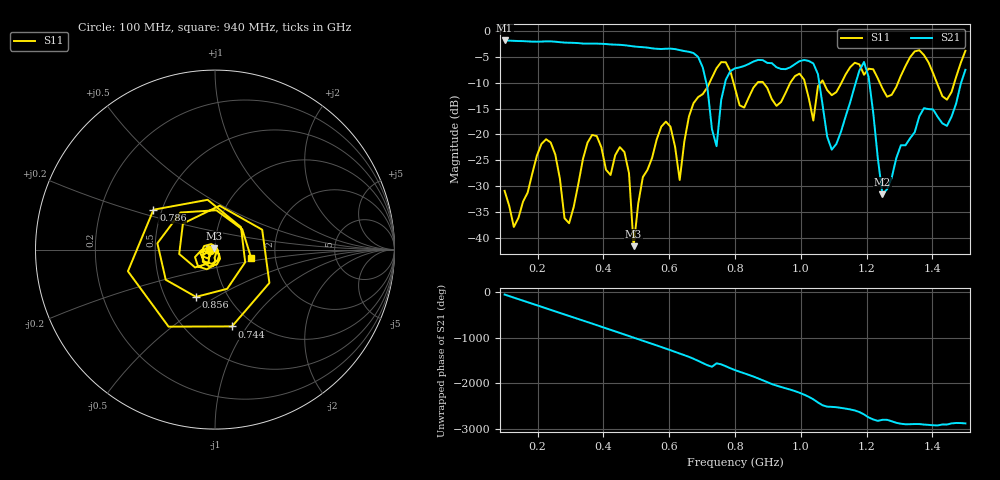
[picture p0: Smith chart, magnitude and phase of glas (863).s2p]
! NanoVNA-App
! Date: 2025-09-25 16:02:11
! Start: 100MHz Stop: 1,5GHz Points: 101
! S-Parameter data: F S11 S21 S12 S22
# Hz S RI R 50
!  Frequency  S11_Real  S11_Imag  S21_Real  S21_Imag  S12_Real  S12_Imag  S22_Real  S22_Imag
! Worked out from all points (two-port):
!   101 points, 100 MHz to 1.5 GHz, reference 50 ohm
!   highest |S21| = -1.80 dB at 100 MHz (marker M1); lowest = -31.5 dB at 1.248 GHz (marker M2)
!   |S21| within 3 dB of the highest: start of sweep to 684.4 MHz
!   lowest |S11| = -41.6 dB at 492 MHz (marker M3), VSWR 1.02, Z = 49.5 + j0.639 ohm
!   |S11| at or under -10 dB: start of sweep to 722.6 MHz; 795.5 MHz to 868.1 MHz (72.52 MHz wide, 8.72 % of centre); 886.2 MHz to 967.8 MHz (81.65 MHz wide, 8.81 % of centre) (the widest 3 of 7)
!   S12 and S22 are empty: the file has one direction only
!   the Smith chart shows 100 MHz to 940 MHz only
!   S11 on the Smith chart (normalised r, x): 100 MHz: 0.94, -0.01; 744 MHz: 0.81, -0.85; 786 MHz: 0.45, +0.24; 856 MHz: 0.71, -0.41; 940 MHz: 1.50, -0.14
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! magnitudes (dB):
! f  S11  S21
! 100 MHz  -30.9  -1.8
! 128 MHz  -37.9  -1.9
! 226 MHz  -20.9  -2.0
! 296 MHz  -37.2  -2.2
! 338 MHz  -24.8  -2.4
! 464 MHz  -23.4  -2.7
! 492 MHz  -41.6  -2.9
! 576 MHz  -18.5  -3.5
! 632 MHz  -28.8  -3.7
! 702 MHz  -12.2  -7.0
! 744 MHz  -7.2  -22.3
! 786 MHz  -7.8  -7.7
! 800 MHz  -11.0  -7.2
! 856 MHz  -10.9  -5.9
! 940 MHz  -13.7  -7.3
! 996 MHz  -8.2  -5.8
! 1.038 GHz  -17.3  -6.3
! 1.094 GHz  -12.4  -22.9
! 1.192 GHz  -8.4  -6.0
! 1.248 GHz  -11.1  -31.5
! 1.276 GHz  -12.3  -28.4
! 1.5 GHz  -3.8  -7.5
